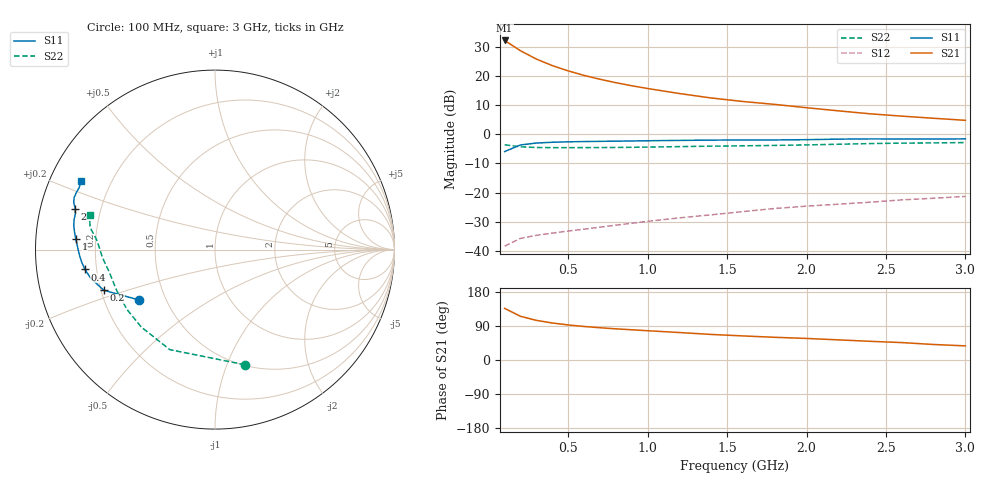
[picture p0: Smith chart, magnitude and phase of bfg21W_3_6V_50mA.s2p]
! Filename: 3_650bfg21.001
! Title: BFG21W
! Bias: Vce=3.6V; Ic=50mA
! Company: Philips Semiconductors NL
! User: Quality&Reliability T&D
! Measure time: 10 Nov 1999 / 11:43:58
#  MHz  S  MA  R 50
! Freq  S11  S21  S12  S22  :
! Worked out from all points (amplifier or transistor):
!   20 points, 100 MHz to 3 GHz, reference 50 ohm
!   highest |S21| = 32.4 dB at 100 MHz (marker M1)
!   |S21| within 3 dB of that: start of sweep to 184.6 MHz
!   unconditionally stable (mu >= 1): 866.5 MHz to end of sweep
!   at 400 MHz: K = 0.70, MSG = 28.8 dB, |S12| = -34.0 dB
!   at 1.2 GHz: K = 1.07, MAG = 19.8 dB, |S12| = -28.7 dB
!   at 3 GHz: K = 1.05, MAG = 11.7 dB, |S12| = -21.4 dB
!   S11 on the Smith chart (normalised r, x): 100 MHz: 0.35, -0.27; 200 MHz: 0.21, -0.17; 400 MHz: 0.16, -0.07; 1 GHz: 0.13, +0.04; 2 GHz: 0.11, +0.14; 3 GHz: 0.09, +0.24
100  0.5066 -146.3  41.45 136.3  0.01192 48.8  0.6631 -75.4
200  0.6596 -159.9  27.56 115.3  0.01622 41.5  0.6117 -114.3
300  0.7103 -167.0  19.82 104.6  0.01831 41.1  0.5956 -133.7
400  0.7329 -171.3  15.3 97.7  0.02 43.4  0.5923 -144.8
500  0.7457 -174.5  12.41 92.5  0.0217 46.0  0.5923 -152.0
600  0.7539 -177.0  10.37 88.5  0.02341 49.0  0.5931 -157.0
700  0.7598 -179.1  8.906 85.1  0.02532 51.9  0.5942 -160.8
800  0.7654 179.0  7.772 82.2  0.02738 54.5  0.5962 -163.9
900  0.7712 177.3  6.882 79.8  0.02956 57.2  0.6 -166.6
1000  0.7777 175.7  6.175 77.3  0.03193 59.1  0.6048 -169.0
1200  0.7891 172.8  5.058 72.5  0.03659 62.3  0.6167 -172.8
1400  0.7977 170.5  4.241 67.5  0.04129 64.4  0.6283 -176.0
1600  0.8025 168.2  3.687 63.5  0.04692 66.2  0.6364 -178.6
1800  0.8028 165.6  3.286 59.9  0.05311 67.4  0.6465 178.6
2000  0.8118 163.7  2.882 56.9  0.05822 68.9  0.6602 175.6
2200  0.8297 161.6  2.547 53.1  0.0629 69.4  0.6775 173.1
2400  0.8367 159.7  2.264 49.3  0.06812 69.2  0.6957 171.2
2600  0.8352 157.8  2.064 46.0  0.07468 68.7  0.7079 169.5
2800  0.832 155.4  1.896 40.9  0.07971 67.4  0.7149 167.3
3000  0.8378 152.8  1.749 37.3  0.0856 66.8  0.7241 164.7
